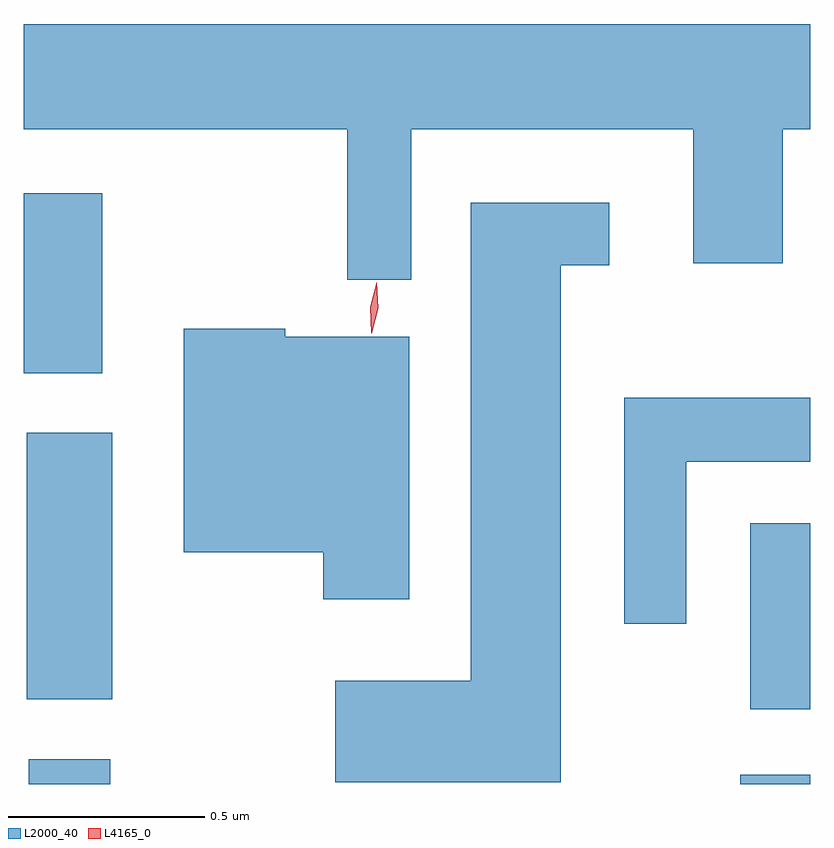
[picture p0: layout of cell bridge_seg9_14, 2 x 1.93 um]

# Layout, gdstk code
import gdstk
lib = gdstk.Library(unit=1e-6, precision=1e-09)
def R(c, l, rs):  # rectangles x0, y0, x1, y1
    for r in rs: c.add(gdstk.rectangle(r[:2], r[2:], *l))
def P(c, l, *ps):  # polygons
    for p in ps: c.add(gdstk.Polygon(p, *l))
L2000_40 = (2000, 40)
L4165_0 = (4165, 0)

bridge_seg9_14 = lib.new_cell('bridge_seg9_14')
R(bridge_seg9_14, L2000_40, [(1721.551,2025.671,1721.759,2025.734), (1723.361,2025.671,1723.539,2025.694), (1723.386,2025.861,1723.539,2026.334), (1721.546,2025.886,1721.764,2026.564), (1721.539,2026.716,1721.739,2027.174)])
P(bridge_seg9_14, L2000_40, [(1722.524,2027.336),(1723.241,2027.336),(1723.241,2026.996),(1723.469,2026.996),(1723.469,2027.336),(1723.539,2027.336),(1723.539,2027.604),(1721.539,2027.604),(1721.539,2027.336),(1722.361,2027.336),(1722.361,2026.953),(1722.524,2026.953)],
  [(1722.904,2026.991),(1723.028,2026.991),(1723.028,2027.149),(1722.676,2027.149),(1722.676,2025.934),(1722.331,2025.934),(1722.331,2025.676),(1722.904,2025.676)],
  [(1722.519,2026.809),(1722.204,2026.809),(1722.204,2026.829),(1721.946,2026.829),(1721.946,2026.261),(1722.301,2026.261),(1722.301,2026.141),(1722.519,2026.141)],
  [(1723.224,2026.491),(1723.539,2026.491),(1723.539,2026.654),(1723.066,2026.654),(1723.066,2026.078),(1723.224,2026.078)])
P(bridge_seg9_14, L4165_0, [(1722.424,2026.817),(1722.423,2026.818),(1722.42,2026.883),(1722.436,2026.947),(1722.436,2026.947),(1722.437,2026.947),(1722.44,2026.881),(1722.424,2026.818)])

lib.write_gds('bridge_seg9_14.gds')
